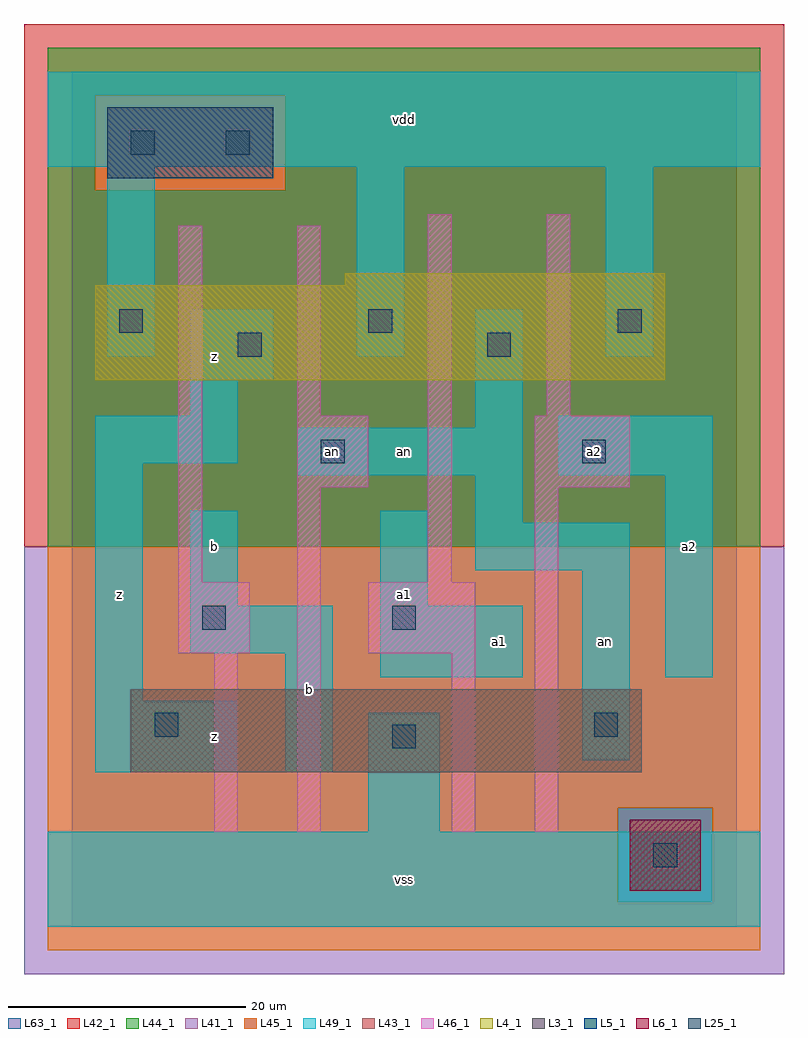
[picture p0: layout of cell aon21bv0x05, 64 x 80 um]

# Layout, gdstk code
import gdstk
lib = gdstk.Library(unit=1e-6, precision=1e-09)
def R(c, l, rs):  # rectangles x0, y0, x1, y1
    for r in rs: c.add(gdstk.rectangle(r[:2], r[2:], *l))
def A(c, l, x, y, w, h, nx, ny, dx, dy):  # array of equal rectangles
    R(c, l, [(x+i*dx, y+j*dy, x+i*dx+w, y+j*dy+h) for i in range(nx) for j in range(ny)])
L3_1 = (3, 1)
L4_1 = (4, 1)
L5_1 = (5, 1)
L6_1 = (6, 1)
L25_1 = (25, 1)
L41_1 = (41, 1)
L42_1 = (42, 1)
L43_1 = (43, 1)
L44_1 = (44, 1)
L45_1 = (45, 1)
L46_1 = (46, 1)
L49_1 = (49, 1)
L63_1 = (63, 1)

aon21bv0x05 = lib.new_cell('aon21bv0x05')
R(aon21bv0x05, L3_1, [(5,13,48,20)])
R(aon21bv0x05, L4_1, [(2,46,50,54), (23,54,50,55)])
R(aon21bv0x05, L5_1, [(3,63,17,69)])
R(aon21bv0x05, L6_1, [(47,3,53,9), (47,3,53,9)])
A(aon21bv0x05, L25_1, 4, 50, 2, 2, 3, 1, 21, 0)
R(aon21bv0x05, L25_1, [(49,5,51,7), (27,15,29,17), (7,16,9,18), (44,16,46,18), (11,25,13,27), (27,25,29,27), (21,39,23,41), (43,39,45,41), (14,48,16,50), (35,48,37,50), (5,65,7,67), (13,65,15,67)])
R(aon21bv0x05, L41_1, [(-4,-4,60,32)])
R(aon21bv0x05, L42_1, [(-4,32,60,76)])
R(aon21bv0x05, L43_1, [(47,3,53,9), (5,13,48,20), (2,46,50,54), (23,54,50,55), (3,63,17,69)])
R(aon21bv0x05, L44_1, [(46,2,54,10), (-2,32,58,62), (-2,62,2,70), (18,62,58,70), (-2,70,58,74)])
R(aon21bv0x05, L45_1, [(-2,-2,58,2), (-2,2,46,10), (54,2,58,10), (-2,10,58,32), (2,62,18,70)])
R(aon21bv0x05, L46_1, [(12,8,14,23), (19,8,21,37), (32,8,34,23), (39,8,41,37), (9,23,15,29), (25,23,34,29), (9,29,11,59), (30,29,32,60), (19,37,25,43), (39,37,47,43), (19,43,21,59), (40,43,42,60)])
A(aon21bv0x05, L49_1, 3, 48, 4, 16, 3, 1, 21, 0)
R(aon21bv0x05, L49_1, [(-2,0,58,8), (25,8,31,18), (2,13,14,19), (18,13,22,23), (43,14,47,30), (2,19,6,39), (26,21,38,27), (50,21,54,38), (10,23,22,27), (10,27,14,35), (26,27,30,35), (34,30,47,34), (34,34,38,38), (19,38,38,42), (41,38,54,43), (2,39,14,43), (34,42,38,52), (10,43,14,46), (10,46,17,52), (-2,64,58,72)])
R(aon21bv0x05, L63_1, [(0,0,56,72)])
aon21bv0x05.add(gdstk.Label('an', (22,40), layer=49, texttype=1))
aon21bv0x05.add(gdstk.Label('z', (4,28), layer=49, texttype=1))
aon21bv0x05.add(gdstk.Label('b', (20,20), layer=49, texttype=1))
aon21bv0x05.add(gdstk.Label('z', (12,16), layer=49, texttype=1))
aon21bv0x05.add(gdstk.Label('b', (12,32), layer=49, texttype=1))
aon21bv0x05.add(gdstk.Label('z', (12,48), layer=49, texttype=1))
aon21bv0x05.add(gdstk.Label('vss', (28,4), layer=49, texttype=1))
aon21bv0x05.add(gdstk.Label('a1', (28,28), layer=49, texttype=1))
aon21bv0x05.add(gdstk.Label('a1', (36,24), layer=49, texttype=1))
aon21bv0x05.add(gdstk.Label('an', (28,40), layer=49, texttype=1))
aon21bv0x05.add(gdstk.Label('vdd', (28,68), layer=49, texttype=1))
aon21bv0x05.add(gdstk.Label('an', (45,24), layer=49, texttype=1))
aon21bv0x05.add(gdstk.Label('a2', (52,32), layer=49, texttype=1))
aon21bv0x05.add(gdstk.Label('a2', (44,40), layer=49, texttype=1))

lib.write_gds('aon21bv0x05.gds')
